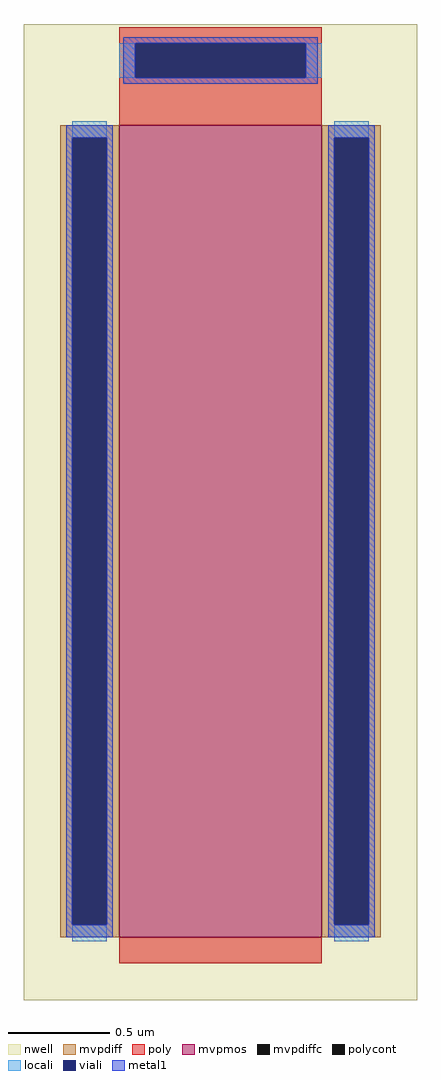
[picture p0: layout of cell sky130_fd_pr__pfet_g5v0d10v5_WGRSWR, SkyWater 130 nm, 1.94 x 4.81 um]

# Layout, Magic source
magic
tech sky130A
magscale 1 2
<< nwell >>
rect -194 -498 194 464
<< mvpmos >>
rect -100 -436 100 364
<< mvpdiff >>
rect -158 352 -100 364
rect -158 -424 -146 352
rect -112 -424 -100 352
rect -158 -436 -100 -424
rect 100 352 158 364
rect 100 -424 112 352
rect 146 -424 158 352
rect 100 -436 158 -424
<< mvpdiffc >>
rect -146 -424 -112 352
rect 112 -424 146 352
<< poly >>
rect -100 445 100 461
rect -100 411 -84 445
rect 84 411 100 445
rect -100 364 100 411
rect -100 -462 100 -436
<< polycont >>
rect -84 411 84 445
<< locali >>
rect -100 411 -84 445
rect 84 411 100 445
rect -146 352 -112 368
rect -146 -440 -112 -424
rect 112 352 146 368
rect 112 -440 146 -424
<< viali >>
rect -84 411 84 445
rect -146 -424 -112 352
rect 112 -424 146 352
<< metal1 >>
rect -96 445 96 451
rect -96 411 -84 445
rect 84 411 96 445
rect -96 405 96 411
rect -152 352 -106 364
rect -152 -424 -146 352
rect -112 -424 -106 352
rect -152 -436 -106 -424
rect 106 352 152 364
rect 106 -424 112 352
rect 146 -424 152 352
rect 106 -436 152 -424
<< properties >>
string gencell sky130_fd_pr__pfet_g5v0d10v5
string library sky130
string parameters w 4 l 1 m 1 nf 1 diffcov 100 polycov 100 guard 0 glc 1 grc 1 gtc 1 gbc 1 tbcov 100 rlcov 100 topc 1 botc 0 poverlap 0 doverlap 1 lmin 0.50 wmin 0.42 compatible {sky130_fd_pr__pfet_01v8  sky130_fd_pr__pfet_01v8_lvt sky130_fd_pr__pfet_01v8_hvt  sky130_fd_pr__pfet_g5v0d10v5} full_metal 1 viasrc 100 viadrn 100 viagate 100 viagb 0 viagr 0 viagl 0 viagt 0
<< end >>
